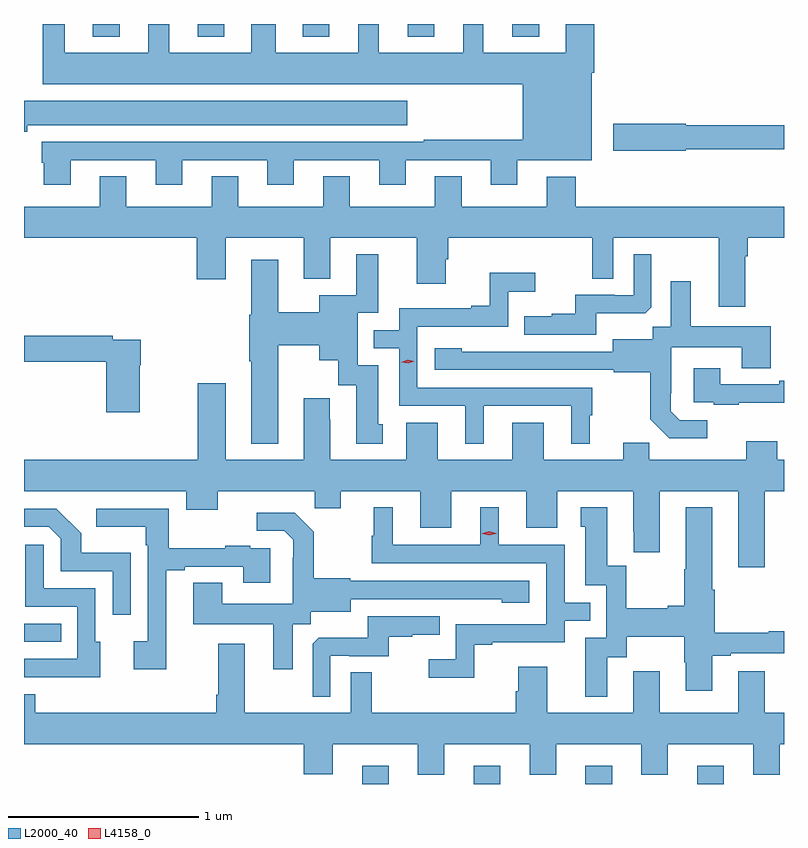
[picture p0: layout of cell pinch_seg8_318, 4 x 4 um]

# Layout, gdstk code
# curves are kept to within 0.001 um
import gdstk
lib = gdstk.Library(unit=1e-6, precision=1e-09)
def R(c, l, rs):  # rectangles x0, y0, x1, y1
    for r in rs: c.add(gdstk.rectangle(r[:2], r[2:], *l))
def A(c, l, x, y, w, h, nx, ny, dx, dy):  # array of equal rectangles
    R(c, l, [(x+i*dx, y+j*dy, x+i*dx+w, y+j*dy+h) for i in range(nx) for j in range(ny)])
def P(c, l, *ps):  # polygons
    for p in ps: c.add(gdstk.Polygon(p, *l))
L2000_40 = (2000, 40)
L4158_0 = (4158, 0)

pinch_seg8_318 = lib.new_cell('pinch_seg8_318')
A(pinch_seg8_318, L2000_40, 606.239, 1130.942, 0.14, 0.095, 4, 1, 0.588, 0)
A(pinch_seg8_318, L2000_40, 604.823, 1134.875, 0.14, 0.067, 5, 1, 0.552, 0)
R(pinch_seg8_318, L2000_40, [(604.46,1131.69,604.655,1131.786)])
P(pinch_seg8_318, L2000_40, [(604.705,1134.225),(605.153,1134.225),(605.153,1134.096),(605.293,1134.096),(605.293,1134.225),(605.741,1134.225),(605.741,1134.096),(605.881,1134.096),(605.881,1134.225),(606.329,1134.225),(606.329,1134.096),(606.469,1134.096),(606.469,1134.225),(606.917,1134.225),(606.917,1134.096),(607.057,1134.096),(607.057,1134.224),(607.447,1134.224),(607.447,1134.686),(607.46,1134.686),(607.46,1134.942),(607.31,1134.942),(607.31,1134.79),(606.877,1134.79),(606.877,1134.942),(606.773,1134.942),(606.773,1134.79),(606.328,1134.79),(606.328,1134.942),(606.218,1134.942),(606.218,1134.79),(605.785,1134.79),(605.785,1134.942),(605.657,1134.942),(605.657,1134.79),(605.224,1134.79),(605.224,1134.942),(605.114,1134.942),(605.114,1134.79),(604.675,1134.79),(604.675,1134.942),(604.559,1134.942),(604.559,1134.626),(607.085,1134.626),(607.085,1134.334),(606.565,1134.334),(606.565,1134.321),(604.553,1134.321),(604.553,1134.213),(604.565,1134.213),(604.565,1134.096),(604.705,1134.096)],
  [(604.477,1134.41),(606.478,1134.41),(606.478,1134.538),(604.46,1134.538),(604.46,1134.374),(604.477,1134.374)],
  [(607.944,1134.282),(608.46,1134.282),(608.46,1134.41),(607.944,1134.41),(607.944,1134.416),(607.56,1134.416),(607.56,1134.274),(607.944,1134.274)],
  [(608.257,1133.72),(608.27,1133.72),(608.27,1133.816),(608.46,1133.816),(608.46,1133.98),(607.364,1133.98),(607.364,1134.139),(607.211,1134.139),(607.211,1133.98),(606.763,1133.98),(606.763,1134.14),(606.623,1134.14),(606.623,1133.98),(606.175,1133.98),(606.175,1134.14),(606.035,1134.14),(606.035,1133.98),(605.587,1133.98),(605.587,1134.14),(605.447,1134.14),(605.447,1133.98),(604.999,1133.98),(604.999,1134.14),(604.859,1134.14),(604.859,1133.98),(604.46,1133.98),(604.46,1133.816),(605.369,1133.816),(605.369,1133.598),(605.521,1133.598),(605.521,1133.816),(605.933,1133.816),(605.933,1133.6),(606.073,1133.6),(606.073,1133.816),(606.527,1133.816),(606.527,1133.574),(606.679,1133.574),(606.679,1133.703),(606.692,1133.703),(606.692,1133.816),(607.452,1133.816),(607.452,1133.602),(607.56,1133.602),(607.56,1133.816),(608.117,1133.816),(608.117,1133.454),(608.257,1133.454)],
  [(605.797,1133.252),(606.014,1133.252),(606.014,1133.171),(606.113,1133.171),(606.113,1133.04),(606.209,1133.04),(606.209,1132.734),(606.349,1132.734),(606.349,1132.836),(606.325,1132.836),(606.325,1133.145),(606.216,1133.145),(606.216,1133.421),(606.325,1133.421),(606.325,1133.731),(606.209,1133.731),(606.209,1133.515),(606.014,1133.515),(606.014,1133.424),(605.797,1133.424),(605.797,1133.701),(605.657,1133.701),(605.657,1133.412),(605.645,1133.412),(605.645,1133.168),(605.657,1133.168),(605.657,1132.733),(605.797,1132.733)],
  [(607.471,1133.42),(607.729,1133.42),(607.761,1133.451),(607.761,1133.731),(607.668,1133.731),(607.668,1133.514),(607.568,1133.514),(607.568,1133.517),(607.361,1133.517),(607.361,1133.416),(607.237,1133.416),(607.237,1133.404),(607.093,1133.404),(607.093,1133.307),(607.471,1133.307)],
  [(606.88,1132.932),(607.34,1132.932),(607.34,1132.733),(607.438,1132.733),(607.438,1132.884),(607.45,1132.884),(607.45,1133.028),(606.531,1133.028),(606.531,1133.349),(607.008,1133.349),(607.008,1133.534),(607.15,1133.534),(607.15,1133.633),(606.91,1133.633),(606.91,1133.458),(606.815,1133.458),(606.815,1133.445),(606.435,1133.445),(606.435,1133.331),(606.302,1133.331),(606.302,1133.235),(606.435,1133.235),(606.435,1132.932),(606.782,1132.932),(606.782,1132.733),(606.88,1132.733)],
  [(608.056,1132.857),(607.911,1132.857),(607.864,1132.904),(607.864,1132.999),(607.866,1132.999),(607.866,1133.24),(608.237,1133.24),(608.237,1133.131),(608.389,1133.131),(608.389,1133.35),(607.969,1133.35),(607.969,1133.587),(607.865,1133.587),(607.865,1133.348),(607.77,1133.348),(607.77,1133.284),(607.559,1133.284),(607.559,1133.217),(606.765,1133.218),(606.765,1133.236),(606.621,1133.236),(606.621,1133.121),(607.563,1133.121),(607.563,1133.109),(607.755,1133.109),(607.755,1132.863),(607.855,1132.763),(608.056,1132.763)],
  [(605.07,1133.147),(605.075,1133.147),(605.075,1133.28),(604.928,1133.28),(604.928,1133.3),(604.46,1133.3),(604.46,1133.164),(604.892,1133.164),(604.892,1132.899),(605.07,1132.899)],
  [(608.221,1132.949),(608.46,1132.949),(608.46,1133.065),(608.435,1133.065),(608.435,1133.046),(608.125,1133.046),(608.125,1133.131),(607.985,1133.131),(607.985,1132.95),(608.089,1132.95),(608.089,1132.938),(608.221,1132.938)],
  [(608.359,1132.484),(608.46,1132.484),(608.46,1132.648),(608.425,1132.648),(608.425,1132.747),(608.261,1132.747),(608.261,1132.648),(607.751,1132.648),(607.751,1132.739),(607.613,1132.739),(607.613,1132.648),(607.195,1132.648),(607.195,1132.843),(607.031,1132.843),(607.031,1132.648),(606.637,1132.648),(606.637,1132.843),(606.473,1132.843),(606.473,1132.648),(606.073,1132.648),(606.073,1132.859),(606.07,1132.859),(606.07,1132.972),(605.933,1132.972),(605.933,1132.648),(605.521,1132.648),(605.521,1133.05),(605.374,1133.05),(605.374,1132.648),(604.46,1132.648),(604.46,1132.484),(605.315,1132.484),(605.315,1132.385),(605.479,1132.385),(605.479,1132.484),(605.989,1132.484),(605.989,1132.394),(606.127,1132.394),(606.127,1132.484),(606.545,1132.484),(606.545,1132.29),(606.709,1132.29),(606.709,1132.484),(607.103,1132.484),(607.103,1132.29),(607.267,1132.29),(607.267,1132.484),(607.667,1132.484),(607.667,1132.273),(607.67,1132.273),(607.67,1132.161),(607.807,1132.161),(607.807,1132.484),(608.219,1132.484),(608.219,1132.083),(608.359,1132.083)],
  [(606.831,1131.675),(606.925,1131.675),(606.925,1131.687),(607.305,1131.687),(607.305,1131.801),(607.439,1131.801),(607.439,1131.897),(607.305,1131.897),(607.305,1132.2),(606.958,1132.2),(606.958,1132.399),(606.86,1132.399),(606.86,1132.2),(606.4,1132.2),(606.4,1132.399),(606.302,1132.399),(606.302,1132.248),(606.291,1132.248),(606.291,1132.104),(607.209,1132.104),(607.209,1131.783),(606.732,1131.783),(606.732,1131.598),(606.591,1131.598),(606.591,1131.5),(606.831,1131.5)],
  [(607.531,1131.61),(607.633,1131.61),(607.633,1131.716),(607.936,1131.716),(607.936,1131.582),(607.943,1131.582),(607.943,1131.432),(608.083,1131.432),(608.083,1131.618),(608.179,1131.618),(608.179,1131.63),(608.46,1131.63),(608.46,1131.746),(608.379,1131.746),(608.379,1131.739),(608.096,1131.739),(608.096,1131.964),(608.083,1131.964),(608.083,1132.399),(607.943,1132.399),(607.943,1132.073),(607.936,1132.073),(607.936,1131.881),(607.847,1131.881),(607.847,1131.868),(607.629,1131.868),(607.629,1132.091),(607.531,1132.091),(607.531,1132.399),(607.391,1132.399),(607.391,1132.296),(607.415,1132.296),(607.415,1131.987),(607.524,1131.987),(607.524,1131.711),(607.415,1131.711),(607.415,1131.402),(607.531,1131.402)],
  [(605.022,1132.159),(604.761,1132.159),(604.761,1132.262),(604.63,1132.392),(604.46,1132.392),(604.46,1132.296),(604.59,1132.296),(604.653,1132.233),(604.653,1132.062),(604.926,1132.062),(604.926,1131.834),(605.022,1131.834)],
  [(605.209,1132.068),(605.305,1132.068),(605.305,1132.086),(605.615,1132.086),(605.615,1132.002),(605.755,1132.002),(605.755,1132.182),(605.651,1132.182),(605.651,1132.195),(605.519,1132.195),(605.519,1132.184),(605.221,1132.184),(605.221,1132.392),(604.839,1132.392),(604.839,1132.295),(605.1,1132.295),(605.1,1132.199),(605.112,1132.199),(605.112,1131.694),(605.037,1131.694),(605.037,1131.546),(605.209,1131.546)],
  [(605.875,1131.784),(605.97,1131.784),(605.97,1131.848),(606.181,1131.848),(606.181,1131.915),(606.975,1131.914),(606.975,1131.896),(607.12,1131.896),(607.12,1132.011),(606.177,1132.011),(606.177,1132.024),(605.985,1132.024),(605.985,1132.269),(605.885,1132.369),(605.685,1132.369),(605.685,1132.275),(605.829,1132.275),(605.876,1132.228),(605.876,1132.133),(605.874,1132.133),(605.874,1131.892),(605.503,1131.892),(605.503,1132.001),(605.351,1132.001),(605.351,1131.782),(605.771,1131.782),(605.771,1131.546),(605.875,1131.546)],
  [(604.861,1131.69),(604.836,1131.69),(604.836,1131.972),(604.563,1131.972),(604.563,1132.201),(604.467,1132.201),(604.467,1131.876),(604.74,1131.876),(604.74,1131.6),(604.46,1131.6),(604.46,1131.504),(604.643,1131.504),(604.643,1131.503),(604.861,1131.503)],
  [(606.072,1131.618),(606.172,1131.618),(606.172,1131.615),(606.38,1131.615),(606.38,1131.717),(606.503,1131.717),(606.503,1131.728),(606.647,1131.728),(606.647,1131.825),(606.27,1131.825),(606.27,1131.713),(606.011,1131.713),(605.979,1131.681),(605.979,1131.401),(606.072,1131.401)],
  [(606.673,1131.152),(607.121,1131.152),(607.121,1130.992),(607.261,1130.992),(607.261,1131.152),(607.709,1131.152),(607.709,1130.992),(607.849,1130.992),(607.849,1131.152),(608.297,1131.152),(608.297,1130.992),(608.437,1130.992),(608.437,1131.152),(608.46,1131.152),(608.46,1131.316),(608.359,1131.316),(608.359,1131.535),(608.219,1131.535),(608.219,1131.316),(607.807,1131.316),(607.807,1131.535),(607.667,1131.535),(607.667,1131.316),(607.213,1131.316),(607.213,1131.559),(607.061,1131.559),(607.061,1131.429),(607.049,1131.429),(607.049,1131.316),(606.289,1131.316),(606.289,1131.53),(606.18,1131.53),(606.18,1131.316),(605.623,1131.316),(605.623,1131.679),(605.483,1131.679),(605.483,1131.412),(605.471,1131.412),(605.471,1131.316),(604.519,1131.316),(604.519,1131.415),(604.46,1131.415),(604.46,1131.152),(605.933,1131.152),(605.933,1130.993),(606.085,1130.993),(606.085,1131.152),(606.533,1131.152),(606.533,1130.992),(606.673,1130.992)])
P(pinch_seg8_318, L4158_0, [(606.909,1132.251),(606.873,1132.26),(606.873,1132.261),(606.873,1132.261),(606.909,1132.271),(606.945,1132.261),(606.945,1132.261),(606.945,1132.26)],
  [(606.482,1133.156),(606.446,1133.163),(606.446,1133.163),(606.446,1133.163),(606.48,1133.176),(606.515,1133.168),(606.515,1133.168),(606.515,1133.168)])

lib.write_gds('pinch_seg8_318.gds')
